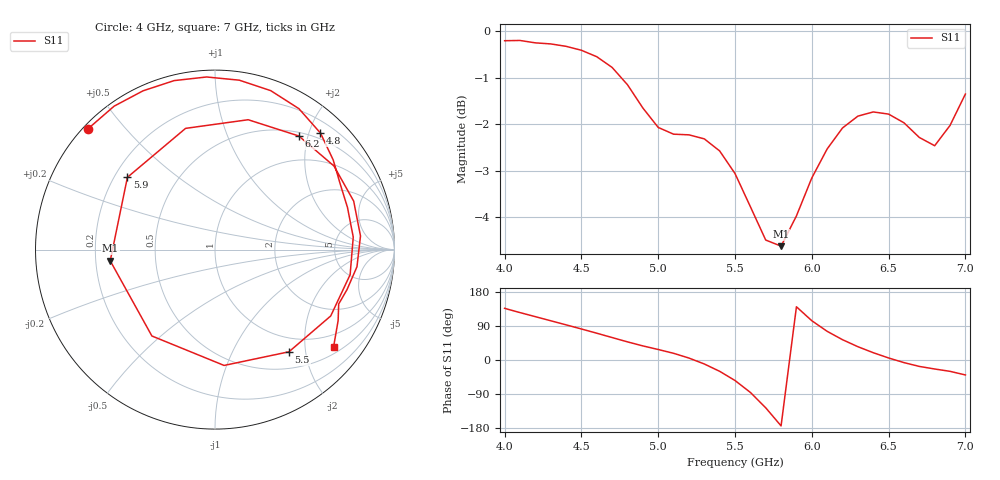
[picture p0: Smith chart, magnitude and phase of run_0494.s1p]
! Touchstone file exported from HFSS 2024.2.0
!  File:  C:/Users/wsak9/Desktop/Sim Fast/Widenad Patch/WP_AI_V1_sweep.aedt
!  Generated:  12:45:46 PM Oct 14, 2026
!  Design:  A1_model
!  Project:  WP_AI_V1_sweep
!  Setup:  Setup1
!  Solution:  Sweep
! Variables:
!  Air_gap = 2.02mm
!  Curve_Amp1 = 2.17
!  Curve_len1 = 1
!  Curve_pos = 9.775mm
!  Extra = 3.78mm
!  H_sub = 0.79mm
!  L_Patch = 15.55mm
!  L_Patch1 = 16.08mm
!  Sx = 0.27mm
!  Sy = 2.38mm
!  WS = 0.28mm
!  W_Patch = 22.83mm
!  W_Patch1 = 12.3mm
!Data is not renormalized
# GHz S MA
! Terminal data exported
! Port[1] = 1
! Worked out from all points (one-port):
!   31 points, 4 GHz to 7 GHz, reference per port
!   lowest |S11| = -4.6 dB at 5.8 GHz (marker M1), VSWR 3.84
!   |S11| at or under -10 dB: nowhere
!   S11 on the Smith chart (normalised r, x): 4 GHz: 0.01, +0.40; 4.8 GHz: 0.39, +2.20; 5.5 GHz: 0.76, -1.70; 5.9 GHz: 0.25, +0.34; 6.2 GHz: 0.56, +1.85; 7 GHz: 0.65, -2.64
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4  0.9764 136.3
4.1  0.977 125.1
4.2  0.9712 114.4
4.4  0.9629 92.8
4.5  0.9536 81.9
4.6  0.9385 70.7
4.8  0.8756 47.8
4.9  0.8266 37.2
5.1  0.7746 17.7
5.2  0.7734 5.2
5.3  0.7657 -10.5
5.4  0.7432 -29.8
5.5  0.7028 -54.1
5.6  0.6474 -85.5
5.7  0.596 -126.2
5.8  0.587 -173.9
5.9  0.6327 140.5
6  0.6951 103.6
6.1  0.7468 75.7
6.2  0.7867 53.6
6.3  0.8101 35.1
6.4  0.8185 19.3
6.5  0.8142 5.4
6.6  0.7968 -6.9
6.7  0.7684 -16.9
6.8  0.7528 -23.8
6.9  0.7916 -29.9
7  0.8556 -39.5
